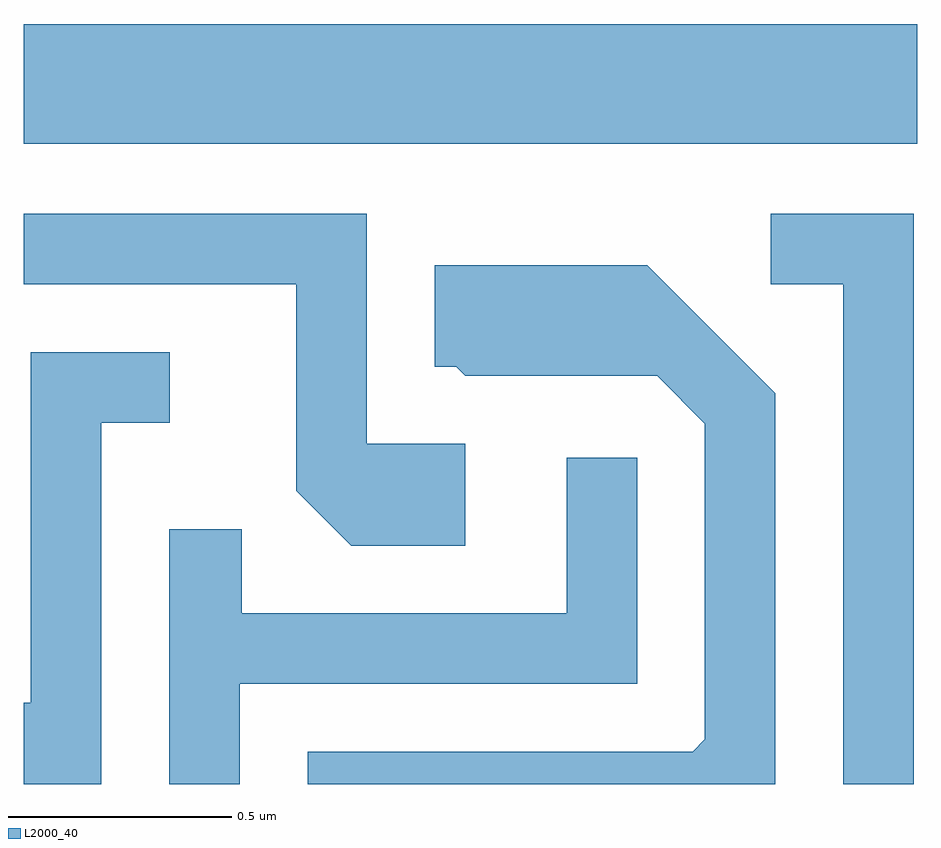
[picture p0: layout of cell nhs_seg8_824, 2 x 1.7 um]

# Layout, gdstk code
import gdstk
lib = gdstk.Library(unit=1e-6, precision=1e-09)
def R(c, l, rs):  # rectangles x0, y0, x1, y1
    for r in rs: c.add(gdstk.rectangle(r[:2], r[2:], *l))
def P(c, l, *ps):  # polygons
    for p in ps: c.add(gdstk.Polygon(p, *l))
L2000_40 = (2000, 40)

nhs_seg8_824 = lib.new_cell('nhs_seg8_824')
R(nhs_seg8_824, L2000_40, [(191.611,1809.776,193.611,1810.044)])
P(nhs_seg8_824, L2000_40, [(192.599,1809.104),(192.379,1809.104),(192.379,1809.619),(191.611,1809.619),(191.611,1809.461),(192.221,1809.461),(192.221,1808.999),(192.344,1808.876),(192.599,1808.876)],
  [(193.604,1809.619),(193.283,1809.619),(193.283,1809.461),(193.446,1809.461),(193.446,1808.342),(193.604,1808.342)],
  [(193.294,1809.217),(193.007,1809.504),(192.531,1809.504),(192.531,1809.276),(192.579,1809.276),(192.599,1809.256),(193.029,1809.256),(193.136,1809.149),(193.136,1808.442),(193.109,1808.414),(192.246,1808.414),(192.246,1808.342),(193.294,1808.342)],
  [(191.784,1809.151),(191.938,1809.151),(191.938,1809.309),(191.626,1809.309),(191.626,1808.524),(191.611,1808.524),(191.611,1808.342),(191.784,1808.342)],
  [(192.094,1808.566),(192.984,1808.566),(192.984,1809.073),(192.826,1809.073),(192.826,1808.724),(192.099,1808.724),(192.099,1808.913),(191.936,1808.913),(191.936,1808.342),(192.094,1808.342)])

lib.write_gds('nhs_seg8_824.gds')
